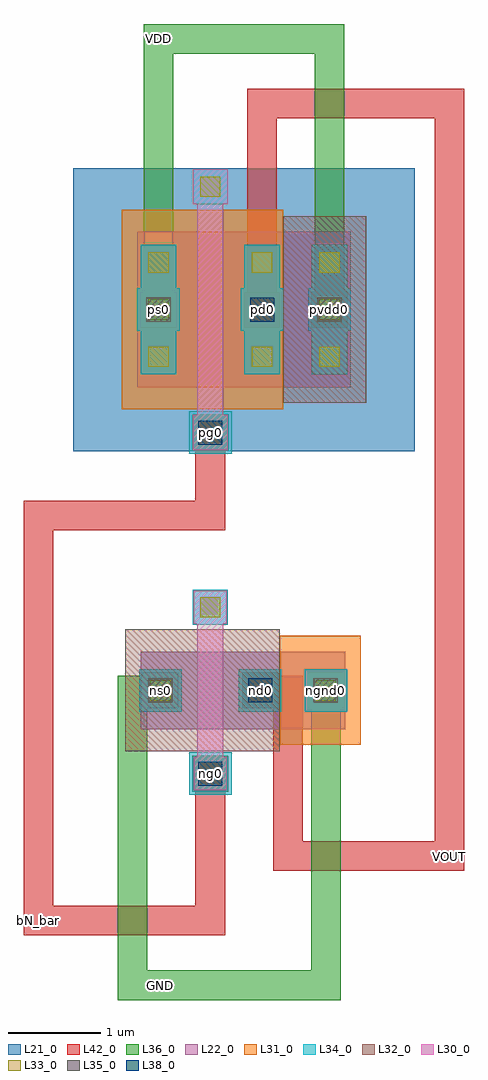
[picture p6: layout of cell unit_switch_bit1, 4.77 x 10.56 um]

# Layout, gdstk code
import gdstk
lib = gdstk.Library(unit=1e-6, precision=1e-09)
def R(c, l, rs):  # rectangles x0, y0, x1, y1
    for r in rs: c.add(gdstk.rectangle(r[:2], r[2:], *l))
def A(c, l, x, y, w, h, nx, ny, dx, dy):  # array of equal rectangles
    R(c, l, [(x+i*dx, y+j*dy, x+i*dx+w, y+j*dy+h) for i in range(nx) for j in range(ny)])
L21_0 = (21, 0)
L22_0 = (22, 0)
L30_0 = (30, 0)
L31_0 = (31, 0)
L32_0 = (32, 0)
L33_0 = (33, 0)
L34_0 = (34, 0)
L35_0 = (35, 0)
L36_0 = (36, 0)
L38_0 = (38, 0)
L42_0 = (42, 0)

unit_switch_bit1 = lib.new_cell('unit_switch_bit1')
R(unit_switch_bit1, L21_0, [(-1.15,-0.69,2.54,2.37)])
R(unit_switch_bit1, L22_0, [(-0.42,-3.7,0,-2.86), (0,-3.7,0.66,-2.86), (0.66,-3.7,1.08,-2.86), (1.08,-3.7,1.79,-2.86), (-0.46,0,0,1.68), (0,0,0.66,1.68), (0.66,0,1.12,1.68), (1.12,0,1.85,1.68)])
R(unit_switch_bit1, L30_0, [(0.15,-4.36,0.51,-4), (0.19,-4,0.47,-2.56), (0.15,-2.56,0.51,-2.2), (0.14,-0.68,0.52,-0.3), (0.19,-0.3,0.47,1.98), (0.14,1.98,0.52,2.36)])
R(unit_switch_bit1, L31_0, [(1.08,-3.87,1.96,-2.69), (-0.63,-0.24,1.12,1.92)])
R(unit_switch_bit1, L32_0, [(-0.59,-3.94,1.08,-2.62), (1.12,-0.17,2.02,1.85)])
A(unit_switch_bit1, L33_0, -0.34, 0.22, 0.22, 0.22, 1, 3, 0, 0.51)
A(unit_switch_bit1, L33_0, 0.78, 0.22, 0.22, 0.22, 1, 3, 0, 0.51)
A(unit_switch_bit1, L33_0, 1.51, 0.22, 0.22, 0.22, 1, 3, 0, 0.51)
R(unit_switch_bit1, L33_0, [(0.22,-4.29,0.44,-4.07), (-0.32,-3.39,-0.1,-3.17), (0.76,-3.39,0.98,-3.17), (1.47,-3.39,1.69,-3.17), (0.22,-2.49,0.44,-2.27), (0.22,-0.6,0.44,-0.38), (0.22,2.06,0.44,2.28)])
R(unit_switch_bit1, L34_0, [(0.1,-4.41,0.56,-3.95), (0.14,-4.37,0.52,-3.99), (-0.44,-3.51,0.02,-3.05), (0.64,-3.51,1.1,-3.05), (1.35,-3.51,1.81,-3.05), (-0.4,-3.47,-0.02,-3.09), (0.68,-3.47,1.06,-3.09), (1.39,-3.47,1.77,-3.09), (0.14,-2.57,0.52,-2.19), (0.1,-0.72,0.56,-0.26), (0.14,-0.68,0.52,-0.3), (-0.42,0.14,-0.04,1.54), (0.7,0.14,1.08,1.54), (1.43,0.14,1.81,1.54), (-0.46,0.61,0,1.07), (0.66,0.61,1.12,1.07), (1.39,0.61,1.85,1.07), (0.14,1.98,0.52,2.36)])
R(unit_switch_bit1, L35_0, [(0.2,-4.31,0.46,-4.05), (-0.34,-3.41,-0.08,-3.15), (0.74,-3.41,1,-3.15), (1.45,-3.41,1.71,-3.15), (0.2,-0.62,0.46,-0.36), (-0.36,0.71,-0.1,0.97), (0.76,0.71,1.02,0.97), (1.49,0.71,1.75,0.97)])
R(unit_switch_bit1, L36_0, [(-0.67,-6.63,-0.05,-6.31), (-0.67,-6.63,-0.35,-3.12), (-0.37,-6.63,1.74,-6.31), (1.42,-6.63,1.74,-3.12), (0.135,-4.375,0.525,-3.985), (-0.405,-3.475,-0.015,-3.085), (0.675,-3.475,1.065,-3.085), (1.385,-3.475,1.775,-3.085), (-0.67,-3.44,-0.05,-3.12), (0.135,-0.685,0.525,-0.295), (-0.425,0.645,-0.035,1.035), (0.695,0.645,1.085,1.035), (1.425,0.645,1.815,1.035), (-0.39,0.68,-0.07,3.93), (1.46,0.68,1.78,3.93), (-0.39,3.61,-0.07,3.93), (-0.39,3.61,1.78,3.93)])
R(unit_switch_bit1, L38_0, [(0.2,-4.31,0.46,-4.05), (0.74,-3.41,1,-3.15), (0.2,-0.62,0.46,-0.36), (0.76,0.71,1.02,0.97)])
R(unit_switch_bit1, L42_0, [(-1.69,-5.93,0.49,-5.61), (-1.69,-5.93,-1.37,-1.23), (0.17,-5.93,0.49,-4.02), (1.01,-5.23,1.33,-3.12), (1.01,-5.23,3.08,-4.91), (2.76,-5.23,3.08,3.23), (0.135,-4.375,0.525,-3.985), (0.675,-3.475,1.065,-3.085), (0.71,-3.44,1.33,-3.12), (-1.69,-1.55,0.49,-1.23), (0.17,-1.55,0.49,-0.33), (0.135,-0.685,0.525,-0.295), (0.695,0.645,1.085,1.035), (0.73,0.68,1.05,3.23), (0.73,2.91,3.08,3.23)])
unit_switch_bit1.add(gdstk.Label('ps0', (-0.23,0.84), layer=34, texttype=10))
unit_switch_bit1.add(gdstk.Label('pd0', (0.89,0.84), layer=34, texttype=10))
unit_switch_bit1.add(gdstk.Label('pg0', (0.33,-0.49), layer=34, texttype=10))
unit_switch_bit1.add(gdstk.Label('pvdd0', (1.62,0.84), layer=34, texttype=10))
unit_switch_bit1.add(gdstk.Label('ns0', (-0.21,-3.281), layer=34, texttype=10))
unit_switch_bit1.add(gdstk.Label('nd0', (0.87,-3.281), layer=34, texttype=10))
unit_switch_bit1.add(gdstk.Label('ng0', (0.33,-4.181), layer=34, texttype=10))
unit_switch_bit1.add(gdstk.Label('ngnd0', (1.58,-3.281), layer=34, texttype=10))
unit_switch_bit1.add(gdstk.Label('VDD', (-0.23,3.77), layer=34, texttype=10))
unit_switch_bit1.add(gdstk.Label('GND', (-0.21,-6.472), layer=34, texttype=10))
unit_switch_bit1.add(gdstk.Label('VOUT', (2.92,-5.072), layer=34, texttype=10))
unit_switch_bit1.add(gdstk.Label('bN_bar', (-1.53,-5.772), layer=34, texttype=10))

lib.write_gds('unit_switch_bit1.gds')
